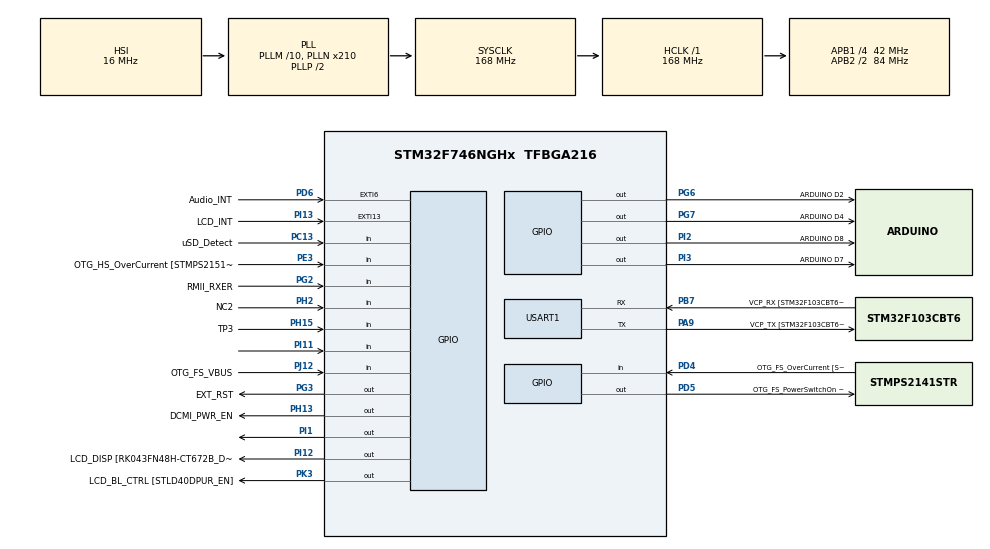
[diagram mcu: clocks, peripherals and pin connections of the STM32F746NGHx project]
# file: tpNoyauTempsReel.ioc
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FREERTOS.Tasks01=defaultTask,0,256,StartDefaultTask,Default,NULL,Dynamic,NULL,NULL
Mcu.Family=STM32F7
Mcu.Name=STM32F746NGHx
Mcu.Package=TFBGA216
NVIC.PriorityGroup=NVIC_PRIORITYGROUP_4
NVIC.TIM3_IRQn=true\:5\:0\:false\:false\:true\:true\:true\:true\:true
NVIC.TIM6_DAC_IRQn=true\:15\:0\:false\:false\:true\:false\:false\:true\:true
NVIC.TimeBase=TIM6_DAC_IRQn
NVIC.TimeBaseIP=TIM6
PA0/WKUP.GPIO_Label=ARDUINO A0
PA0/WKUP.GPIO_Mode=GPIO_MODE_ANALOG
PA0/WKUP.GPIO_PuPd=GPIO_NOPULL
PA0/WKUP.Signal=ADCx_IN0
PA1.GPIO_Label=RMII_REF_CLK [LAN8742A-CZ-TR_REFCLK0]
PA1.Signal=ETH_REF_CLK
PA10.GPIO_Label=OTG_FS_ID
PA10.Signal=USB_OTG_FS_ID
PA11.GPIO_Label=OTG_FS_N
PA11.Signal=USB_OTG_FS_DM
PA12.GPIO_Label=OTG_FS_P
PA12.Signal=USB_OTG_FS_DP
PA13.GPIO_Label=SWDIO
PA13.Signal=SYS_JTMS-SWDIO
PA14.GPIO_Label=SWCLK
PA14.Signal=SYS_JTCK-SWCLK
PA15.GPIO_Label=ARDUINO PWM/D9
PA15.GPIO_ModeDefaultPP=GPIO_MODE_AF_PP
PA15.GPIO_PuPd=GPIO_NOPULL
PA15.GPIO_Speed=GPIO_SPEED_FREQ_LOW
PA15.Signal=S_TIM2_CH1_ETR
PA2.GPIO_Label=RMII_MDIO [LAN8742A-CZ-TR_MDIO]
PA2.Signal=ETH_MDIO
PA3.GPIO_Label=ULPI_D0 [USB3320C-EZK_D0]
PA3.Signal=USB_OTG_HS_ULPI_D0
PA4.GPIO_Label=DCMI_HSYNC
PA4.Signal=DCMI_HSYNC
PA5.GPIO_Label=ULPI_CLK [USB3320C-EZK_CLKOUT]
PA5.Signal=USB_OTG_HS_ULPI_CK
PA6.Signal=DCMI_PIXCLK
PA7.GPIO_Label=RMII_CRS_DV [LAN8742A-CZ-TR_CRS_DV]
PA7.Signal=ETH_CRS_DV
PA8.GPIO_Label=ARDUINO PWM/D10
PA8.GPIO_ModeDefaultPP=GPIO_MODE_AF_PP
PA8.GPIO_PuPd=GPIO_NOPULL
PA8.GPIO_Speed=GPIO_SPEED_FREQ_LOW
PA8.Signal=S_TIM1_CH1
PA9.GPIO_Label=VCP_TX [STM32F103CBT6_PA3]
PA9.GPIO_Mode=GPIO_MODE_AF_PP
PA9.GPIO_PuPd=GPIO_NOPULL
PA9.GPIO_Speed=GPIO_SPEED_FREQ_LOW
PA9.Mode=Asynchronous
PA9.Signal=USART1_TX
PB0.GPIO_Label=ULPI_D1 [USB3320C-EZK_D1]
PB0.Signal=USB_OTG_HS_ULPI_D1
PB1.GPIO_Label=ULPI_D2 [USB3320C-EZK_D2]
PB1.Signal=USB_OTG_HS_ULPI_D2
PB10.GPIO_Label=ULPI_D3 [USB3320C-EZK_D3]
PB10.Signal=USB_OTG_HS_ULPI_D3
PB11.GPIO_Label=ULPI_D4 [USB3320C-EZK_D4]
PB11.Signal=USB_OTG_HS_ULPI_D4
PB12.GPIO_Label=ULPI_D5 [USB3320C-EZK_D5]
PB12.Signal=USB_OTG_HS_ULPI_D5
PB13.GPIO_Label=ULPI_D6 [USB3320C-EZK_D6]
PB13.Signal=USB_OTG_HS_ULPI_D6
PB14.GPIO_Label=ARDUINO MISO/D12
PB14.GPIO_Mode=GPIO_MODE_AF_PP
PB14.GPIO_PuPd=GPIO_NOPULL
PB14.GPIO_Speed=GPIO_SPEED_FREQ_LOW
PB14.Signal=SPI2_MISO
PB15.GPIO_Label=ARDUINO MOSI/PWM/D11
PB15.GPIO_Mode=GPIO_MODE_AF_PP
PB15.GPIO_PuPd=GPIO_NOPULL
PB15.GPIO_Speed=GPIO_SPEED_FREQ_LOW
PB15.Signal=SPI2_MOSI
PB2.Signal=QUADSPI_CLK
PB3.GPIO_Label=SWO
PB3.Signal=SYS_JTDO-SWO
PB4.GPIO_Label=ARDUINO PWM/D3
PB4.GPIO_ModeDefaultPP=GPIO_MODE_AF_PP
PB4.GPIO_PuPd=GPIO_NOPULL
PB4.GPIO_Speed=GPIO_SPEED_FREQ_LOW
PB4.Signal=S_TIM3_CH1
PB5.GPIO_Label=ULPI_D7 [USB3320C-EZK_D7]
PB5.Signal=USB_OTG_HS_ULPI_D7
PB6.GPIO_Label=QSPI_NCS [N25Q128A13EF840E_S]
PB6.Signal=QUADSPI_BK1_NCS
PB7.GPIO_Label=VCP_RX [STM32F103CBT6_PA2]
PB7.GPIO_Mode=GPIO_MODE_AF_PP
PB7.GPIO_PuPd=GPIO_NOPULL
PB7.GPIO_Speed=GPIO_SPEED_FREQ_LOW
PB7.Mode=Asynchronous
PB7.Signal=USART1_RX
PB8.GPIO_Label=ARDUINO SCL/D15
PB8.GPIO_Mode=GPIO_MODE_AF_OD
PB8.GPIO_PuPd=GPIO_NOPULL
PB8.GPIO_Speed=GPIO_SPEED_FREQ_LOW
PB8.Signal=I2C1_SCL
PB9.GPIO_Label=ARDUINO SDA/D14
PB9.GPIO_Mode=GPIO_MODE_AF_OD
PB9.GPIO_PuPd=GPIO_NOPULL
PB9.GPIO_Speed=GPIO_SPEED_FREQ_LOW
PB9.Signal=I2C1_SDA
PC0.GPIO_Label=ULPI_STP [USB3320C-EZK_STP]
PC0.Signal=USB_OTG_HS_ULPI_STP
PC1.GPIO_Label=RMII_MDC [LAN8742A-CZ-TR_MDC]
PC1.Signal=ETH_MDC
PC10.GPIO_Label=SDMMC_D2
PC10.Signal=SDMMC1_D2
PC11.GPIO_Label=SDMMC_D3
PC11.Signal=SDMMC1_D3
PC12.GPIO_Label=SDMMC_CK
PC12.Signal=SDMMC1_CK
PC13.GPIO_Label=uSD_Detect
PC13.Signal=GPIO_Input
PC14/OSC32_IN.GPIO_Label=RCC_OSC32_IN
PC14/OSC32_IN.Signal=RCC_OSC32_IN
PC15/OSC32_OUT.GPIO_Label=RCC_OSC32_OUT
PC15/OSC32_OUT.Signal=RCC_OSC32_OUT
PC2.GPIO_Label=ULPI_DIR [USB3320C-EZK_DIR]
PC2.Signal=USB_OTG_HS_ULPI_DIR
PC3.GPIO_Label=FMC_SDCKE0 [MT48LC4M32B2B5-6A_CKE]
PC3.Signal=FMC_SDCKE0
PC4.GPIO_Label=RMII_RXD0 [LAN8742A-CZ-TR_RXD0]
PC4.Signal=ETH_RXD0
PC5.GPIO_Label=RMII_RXD1 [LAN8742A-CZ-TR_RXD1]
PC5.Signal=ETH_RXD1
PC6.GPIO_Label=ARDUINO TX/D1
PC6.Signal=USART6_TX
PC7.GPIO_Label=ARDUINO RX/D0
PC7.Signal=USART6_RX
PC8.Signal=SDMMC1_D0
PC9.Signal=SDMMC1_D1
PD0.GPIO_Label=FMC_D2 [MT48LC4M32B2B5-6A_DQ2]
PD0.Signal=FMC_D2_DA2
PD1.GPIO_Label=FMC_D3 [MT48LC4M32B2B5-6A_DQ3]
PD1.Signal=FMC_D3_DA3
PD10.GPIO_Label=FMC_D15 [MT48LC4M32B2B5-6A_DQ15]
PD10.Signal=FMC_D15_DA15
PD11.GPIO_Label=QSPI_D0 [N25Q128A13EF840E_DQ0]
PD11.Signal=QUADSPI_BK1_IO0
PD12.GPIO_Label=QSPI_D1 [N25Q128A13EF840E_DQ1]
PD12.Signal=QUADSPI_BK1_IO1
PD13.GPIO_Label=QSPI_D3 [N25Q128A13EF840E_DQ3]
PD13.Signal=QUADSPI_BK1_IO3
PD14.GPIO_Label=FMC_D0 [MT48LC4M32B2B5-6A_DQ0]
PD14.Signal=FMC_D0_DA0
PD15.GPIO_Label=FMC_D1 [MT48LC4M32B2B5-6A_DQ1]
PD15.Signal=FMC_D1_DA1
PD2.GPIO_Label=SDMMC_D0
PD2.Signal=SDMMC1_CMD
PD3.GPIO_Label=DCMI_D5
PD3.Signal=DCMI_D5
PD4.GPIO_Label=OTG_FS_OverCurrent [STMPS2141STR_Fault]
PD4.Signal=GPIO_Input
PD5.GPIO_Label=OTG_FS_PowerSwitchOn [STMPS2141STR_EN]
PD5.PinState=GPIO_PIN_SET
PD5.Signal=GPIO_Output
PD6.GPIO_Label=Audio_INT
PD6.GPIO_ModeDefaultEXTI=GPIO_MODE_EVT_RISING
PD6.Signal=GPXTI6
PD7.GPIO_Label=SPDIF_RX0 [74LVC1G04SE_4]
PD7.Signal=SPDIFRX_IN0
PD8.GPIO_Label=FMC_D13 [MT48LC4M32B2B5-6A_DQ13]
PD8.Signal=FMC_D13_DA13
PD9.GPIO_Label=FMC_D14 [MT48LC4M32B2B5-6A_DQ14]
PD9.Signal=FMC_D14_DA14
PE0.GPIO_Label=FMC_NBL0 [MT48LC4M32B2B5-6A_DQM0]
PE0.Signal=FMC_NBL0
PE1.GPIO_Label=FMC_NBL1 [MT48LC4M32B2B5-6A_DQM1]
PE1.Signal=FMC_NBL1
PE10.GPIO_Label=FMC_D7 [MT48LC4M32B2B5-6A_DQ7]
PE10.Signal=FMC_D7_DA7
PE11.GPIO_Label=FMC_D8 [MT48LC4M32B2B5-6A_DQ8]
PE11.Signal=FMC_D8_DA8
PE12.GPIO_Label=FMC_D9 [MT48LC4M32B2B5-6A_DQ9]
PE12.Signal=FMC_D9_DA9
PE13.GPIO_Label=FMC_D10 [MT48LC4M32B2B5-6A_DQ10]
PE13.Signal=FMC_D10_DA10
PE14.GPIO_Label=FMC_D11 [MT48LC4M32B2B5-6A_DQ11]
PE14.Signal=FMC_D11_DA11
PE15.GPIO_Label=FMC_D12 [MT48LC4M32B2B5-6A_DQ12]
PE15.Signal=FMC_D12_DA12
PE2.GPIO_Label=QSPI_D2 [N25Q128A13EF840E_DQ2]
PE2.Signal=QUADSPI_BK1_IO2
PE3.GPIO_Label=OTG_HS_OverCurrent [STMPS2151STR_FAULT]
PE3.Signal=GPIO_Input
PE4.GPIO_Label=LCD_B0 [RK043FN48H-CT672B_B0]
PE4.Signal=LTDC_B0
PE5.GPIO_Label=DCMI_D6
PE5.Signal=DCMI_D6
PE6.GPIO_Label=DCMI_D7
PE6.Signal=DCMI_D7
PE7.GPIO_Label=FMC_D4 [MT48LC4M32B2B5-6A_DQ4]
PE7.Signal=FMC_D4_DA4
PE8.GPIO_Label=FMC_D5 [MT48LC4M32B2B5-6A_DQ5]
PE8.Signal=FMC_D5_DA5
PE9.GPIO_Label=FMC_D6 [MT48LC4M32B2B5-6A_DQ6]
PE9.Signal=FMC_D6_DA6
PF0.GPIO_Label=FMC_A0 [MT48LC4M32B2B5-6A_A0]
PF0.Signal=FMC_A0
PF1.GPIO_Label=FMC_A1 [MT48LC4M32B2B5-6A_A1]
PF1.Signal=FMC_A1
PF10.GPIO_Label=ARDUINO A1
PF10.GPIO_Mode=GPIO_MODE_ANALOG
PF10.GPIO_PuPd=GPIO_NOPULL
PF10.Signal=ADC3_IN8
PF11.GPIO_Label=FMC_SDNRAS [MT48LC4M32B2B5-6A_RAS]
PF11.Signal=FMC_SDNRAS
PF12.GPIO_Label=FMC_A6 [MT48LC4M32B2B5-6A_A6]
PF12.Signal=FMC_A6
PF13.GPIO_Label=FMC_A7 [MT48LC4M32B2B5-6A_A7]
PF13.Signal=FMC_A7
PF14.GPIO_Label=FMC_A8 [MT48LC4M32B2B5-6A_A8]
PF14.Signal=FMC_A8
PF15.GPIO_Label=FMC_A9 [MT48LC4M32B2B5-6A_A9]
PF15.Signal=FMC_A9
PF2.GPIO_Label=FMC_A2 [MT48LC4M32B2B5-6A_A2]
PF2.Signal=FMC_A2
PF3.GPIO_Label=FMC_A3 [MT48LC4M32B2B5-6A_A3]
PF3.Signal=FMC_A3
PF4.GPIO_Label=FMC_A4 [MT48LC4M32B2B5-6A_A4]
PF4.Signal=FMC_A4
PF5.GPIO_Label=FMC_A5 [MT48LC4M32B2B5-6A_A5]
PF5.Signal=FMC_A5
PF6.GPIO_Label=ARDUINO A5
PF6.GPIO_Mode=GPIO_MODE_ANALOG
PF6.GPIO_PuPd=GPIO_NOPULL
PF6.Signal=ADC3_IN4
PF7.GPIO_Label=ARDUINO A4
PF7.GPIO_Mode=GPIO_MODE_ANALOG
PF7.GPIO_PuPd=GPIO_NOPULL
PF7.Signal=ADC3_IN5
PF8.GPIO_Label=ARDUINO A3
PF8.GPIO_Mode=GPIO_MODE_ANALOG
PF8.GPIO_PuPd=GPIO_NOPULL
PF8.Signal=ADC3_IN6
PF9.GPIO_Label=ARDUINO A2
PF9.GPIO_Mode=GPIO_MODE_ANALOG
PF9.GPIO_PuPd=GPIO_NOPULL
PF9.Signal=ADC3_IN7
PG0.GPIO_Label=FMC_A10 [MT48LC4M32B2B5-6A_A10]
PG0.Signal=FMC_A10
PG1.GPIO_Label=FMC_A11 [MT48LC4M32B2B5-6A_A11]
PG1.Signal=FMC_A11
PG10.GPIO_Label=SAI2_SDB [WM8994ECS/R_ADCDAT1]
PG10.Signal=SAI2_SD_B
PG11.GPIO_Label=RMII_TX_EN [LAN8742A-CZ-TR_TXEN]
PG11.Signal=ETH_TX_EN
PG12.GPIO_Label=LCD_B4 [RK043FN48H-CT672B_B4]
PG12.Signal=LTDC_B4
PG13.GPIO_Label=RMII_TXD0 [LAN8742A-CZ-TR_TXD0]
PG13.Signal=ETH_TXD0
PG14.GPIO_Label=RMII_TXD1 [LAN8742A-CZ-TR_TXD1]
PG14.Signal=ETH_TXD1
PG15.GPIO_Label=FMC_SDNCAS [MT48LC4M32B2B5-6A_CAS]
PG15.Signal=FMC_SDNCAS
PG2.GPIO_Label=RMII_RXER
PG2.Signal=GPIO_Input
PG3.GPIO_Label=EXT_RST
PG3.Signal=GPIO_Output
PG4.GPIO_Label=FMC_BA0 [MT48LC4M32B2B5-6A_BA0]
PG4.Signal=FMC_A14_BA0
PG5.GPIO_Label=FMC_BA1 [MT48LC4M32B2B5-6A_BA1]
PG5.Signal=FMC_A15_BA1
PG6.GPIO_Label=ARDUINO D2
PG6.Signal=GPIO_Output
PG7.GPIO_Label=ARDUINO D4
PG7.Signal=GPIO_Output
PG8.GPIO_Label=FMC_SDCLK [MT48LC4M32B2B5-6A_CLK]
PG8.Signal=FMC_SDCLK
PG9.GPIO_Label=DCMI_VSYNC
PG9.Signal=DCMI_VSYNC
PH0/OSC_IN.GPIO_Label=OSC_25M [NZ2520SB-25.00M_OUT]
PH0/OSC_IN.Signal=RCC_OSC_IN
PH1/OSC_OUT.Signal=RCC_OSC_OUT
PH10.GPIO_Label=DCMI_D1
PH10.Signal=DCMI_D1
PH11.GPIO_Label=DCMI_D2
PH11.Signal=DCMI_D2
PH12.GPIO_Label=DCMI_D3
PH12.Signal=DCMI_D3
PH13.GPIO_Label=DCMI_PWR_EN
PH13.Signal=GPIO_Output
PH14.GPIO_Label=DCMI_D4
PH14.Signal=DCMI_D4
PH15.GPIO_Label=TP3
PH15.Signal=GPIO_Input
PH2.GPIO_Label=NC2
PH2.Signal=GPIO_Input
PH3.GPIO_Label=FMC_SDNE0 [MT48LC4M32B2B5-6A_CS]
PH3.Signal=FMC_SDNE0
PH4.GPIO_Label=ULPI_NXT [USB3320C-EZK_NXT]
PH4.Signal=USB_OTG_HS_ULPI_NXT
PH5.GPIO_Label=FMC_SDNME [MT48LC4M32B2B5-6A_WE]
PH5.Signal=FMC_SDNWE
PH6.GPIO_Label=ARDUINO PWM/D6
PH6.Signal=S_TIM12_CH1
PH7.GPIO_Label=LCD_SCL [RK043FN48H-CT672B_SCL]
PH7.Signal=I2C3_SCL
PH8.GPIO_Label=LCD_SDA [RK043FN48H-CT672B_SDA]
PH8.Signal=I2C3_SDA
PH9.GPIO_Label=DCMI_D0
PH9.Signal=DCMI_D0
PI0.GPIO_Label=ARDUINO PWM/CS/D5
PI0.GPIO_ModeDefaultPP=GPIO_MODE_AF_PP
PI0.GPIO_PuPd=GPIO_NOPULL
PI0.GPIO_Speed=GPIO_SPEED_FREQ_LOW
PI0.Signal=S_TIM5_CH4
PI1.Signal=GPIO_Output
PI10.GPIO_Label=LCD_HSYNC [RK043FN48H-CT672B_HSYNC]
PI10.Signal=LTDC_HSYNC
PI11.Signal=GPIO_Input
PI12.GPIO_Label=LCD_DISP [RK043FN48H-CT672B_DISP] 
PI12.Signal=GPIO_Output
PI13.GPIO_Label=LCD_INT
PI13.GPIO_ModeDefaultEXTI=GPIO_MODE_EVT_RISING
PI13.Signal=GPXTI13
PI14.GPIO_Label=LCD_CLK [RK043FN48H-CT672B_CLK]
PI14.Signal=LTDC_CLK
PI15.GPIO_Label=LCD_R0 [RK043FN48H-CT672B_R0]
PI15.Signal=LTDC_R0
PI2.GPIO_Label=ARDUINO D8
PI2.Signal=GPIO_Output
PI3.GPIO_Label=ARDUINO D7
PI3.Signal=GPIO_Output
PI4.GPIO_Label=SAI2_MCLKA [WM8994ECS/R_MCLK1]
PI4.Signal=SAI2_MCLK_A
PI5.GPIO_Label=SAI2_SCKA [WM8994ECS/R_BCLK1]
PI5.Signal=SAI2_SCK_A
PI6.GPIO_Label=SAI2_SDA [WM8994ECS/R_DACDAT1]
PI6.Signal=SAI2_SD_A
PI7.GPIO_Label=SAI2_FSA [WM8994ECS/R_LRCLK1]
PI7.Signal=SAI2_FS_A
PI8.GPIO_Label=NC1 [TP2]
PI8.Signal=RTC_TS
PI9.GPIO_Label=LCD_VSYNC [RK043FN48H-CT672B_VSYNC]
PI9.Signal=LTDC_VSYNC
PJ0.GPIO_Label=LCD_R1 [RK043FN48H-CT672B_R1]
PJ0.Signal=LTDC_R1
PJ1.GPIO_Label=LCD_R2 [RK043FN48H-CT672B_R2]
PJ1.Signal=LTDC_R2
PJ10.GPIO_Label=LCD_G3 [RK043FN48H-CT672B_G3]
PJ10.Signal=LTDC_G3
PJ11.GPIO_Label=LCD_G4 [RK043FN48H-CT672B_G4]
PJ11.Signal=LTDC_G4
PJ12.GPIO_Label=OTG_FS_VBUS
PJ12.Signal=GPIO_Input
PJ13.GPIO_Label=LCD_B1 [RK043FN48H-CT672B_B1]
PJ13.Signal=LTDC_B1
PJ14.GPIO_Label=LCD_B2 [RK043FN48H-CT672B_B2]
PJ14.Signal=LTDC_B2
PJ15.GPIO_Label=LCD_B3 [RK043FN48H-CT672B_B3]
PJ15.Signal=LTDC_B3
PJ2.GPIO_Label=LCD_R3 [RK043FN48H-CT672B_R3]
PJ2.Signal=LTDC_R3
PJ3.GPIO_Label=LCD_R4 [RK043FN48H-CT672B_R4]
PJ3.Signal=LTDC_R4
PJ4.GPIO_Label=LCD_R5 [RK043FN48H-CT672B_R5]
PJ4.Signal=LTDC_R5
PJ5.GPIO_Label=LCD_R6 [RK043FN48H-CT672B_R6]
PJ5.Signal=LTDC_R6
PJ6.GPIO_Label=LCD_R7 [RK043FN48H-CT672B_R7]
PJ6.Signal=LTDC_R7
PJ7.GPIO_Label=LCD_G0 [RK043FN48H-CT672B_G0]
PJ7.Signal=LTDC_G0
PJ8.GPIO_Label=LCD_G1 [RK043FN48H-CT672B_G1]
PJ8.Signal=LTDC_G1
PJ9.GPIO_Label=LCD_G2 [RK043FN48H-CT672B_G2]
PJ9.Signal=LTDC_G2
PK0.GPIO_Label=LCD_G5 [RK043FN48H-CT672B_G5]
PK0.Signal=LTDC_G5
PK1.GPIO_Label=LCD_G6 [RK043FN48H-CT672B_G6]
PK1.Signal=LTDC_G6
PK2.GPIO_Label=LCD_G7 [RK043FN48H-CT672B_G7]
PK2.Signal=LTDC_G7
PK3.GPIO_Label=LCD_BL_CTRL [STLD40DPUR_EN]
PK3.Signal=GPIO_Output
PK4.GPIO_Label=LCD_B5 [RK043FN48H-CT672B_B5]
PK4.Signal=LTDC_B5
PK5.GPIO_Label=LCD_B6 [RK043FN48H-CT672B_B6]
PK5.Signal=LTDC_B6
PK6.GPIO_Label=LCD_B7 [RK043FN48H-CT672B_B7]
PK6.Signal=LTDC_B7
PK7.GPIO_Label=LCD_DE [RK043FN48H-CT672B_DE]
PK7.Signal=LTDC_DE
ProjectManager.HeapSize=0x200
ProjectManager.StackSize=0x400
ProjectManager.TargetToolchain=CMake
RCC.AHBFreq_Value=168000000
RCC.APB1CLKDivider=RCC_HCLK_DIV4
RCC.APB1Freq_Value=42000000
RCC.APB1TimFreq_Value=84000000
RCC.APB2CLKDivider=RCC_HCLK_DIV2
RCC.APB2Freq_Value=84000000
RCC.APB2TimFreq_Value=168000000
RCC.CortexFreq_Value=168000000
RCC.HCLKFreq_Value=168000000
RCC.HSE_VALUE=25000000
RCC.HSI_VALUE=16000000
RCC.LSE_VALUE=32768
RCC.PLLM=10
RCC.PLLN=210
RCC.PLLSourceVirtual=RCC_PLLSOURCE_HSI
RCC.SYSCLKFreq_VALUE=168000000
RCC.SYSCLKSource=RCC_SYSCLKSOURCE_PLLCLK
RCC.USBFreq_Value=168000000
RCC.VCOOutputFreq_Value=336000000
SH.ADCx_IN0.0=ADC3_IN0
SH.FMC_A0.0=FMC_A0
SH.FMC_A1.0=FMC_A1
SH.FMC_A10.0=FMC_A10
SH.FMC_A11.0=FMC_A11
SH.FMC_A14_BA0.0=FMC_BA0
SH.FMC_A15_BA1.0=FMC_BA1
SH.FMC_A2.0=FMC_A2
SH.FMC_A3.0=FMC_A3
SH.FMC_A4.0=FMC_A4
SH.FMC_A5.0=FMC_A5
SH.FMC_A6.0=FMC_A6
SH.FMC_A7.0=FMC_A7
SH.FMC_A8.0=FMC_A8
SH.FMC_A9.0=FMC_A9
SH.FMC_D0_DA0.0=FMC_D0
SH.FMC_D10_DA10.0=FMC_D10
SH.FMC_D11_DA11.0=FMC_D11
SH.FMC_D12_DA12.0=FMC_D12
SH.FMC_D13_DA13.0=FMC_D13
SH.FMC_D14_DA14.0=FMC_D14
SH.FMC_D15_DA15.0=FMC_D15
SH.FMC_D1_DA1.0=FMC_D1
SH.FMC_D2_DA2.0=FMC_D2
SH.FMC_D3_DA3.0=FMC_D3
SH.FMC_D4_DA4.0=FMC_D4
SH.FMC_D5_DA5.0=FMC_D5
SH.FMC_D6_DA6.0=FMC_D6
SH.FMC_D7_DA7.0=FMC_D7
SH.FMC_D8_DA8.0=FMC_D8
SH.FMC_D9_DA9.0=FMC_D9
SH.FMC_NBL0.0=FMC_NBL0
SH.FMC_NBL1.0=FMC_NBL1
SH.FMC_SDCLK.0=FMC_SDCLK
SH.FMC_SDNCAS.0=FMC_SDNCAS
SH.FMC_SDNRAS.0=FMC_SDNRAS
SH.FMC_SDNWE.0=FMC_SDNWE
SH.S_TIM12_CH1.0=TIM12_CH1
SH.S_TIM1_CH1.0=TIM1_CH1
SH.S_TIM2_CH1_ETR.0=TIM2_CH1
SH.S_TIM3_CH1.0=TIM3_CH1
SH.S_TIM5_CH4.0=TIM5_CH4
TIM3.Period=999
USART1.VirtualMode-Asynchronous=VM_ASYNC
VP_FREERTOS_VS_CMSIS_V1.Mode=CMSIS_V1
VP_SYS_VS_tim6.Mode=TIM6
VP_TIM3_VS_ClockSourceINT.Mode=Internal
board=STM32F746G-DISCO

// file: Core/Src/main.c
/* USER CODE BEGIN Header */
/**
 ******************************************************************************
 * @file           : main.c
 * @brief          : Main program body
 ******************************************************************************
 * @attention
 *
 * Copyright (c) 2026 STMicroelectronics.
 * All rights reserved.
 *
 * This software is licensed under terms that can be found in the LICENSE file
 * in the root directory of this software component.
 * If no LICENSE file comes with this software, it is provided AS-IS.
 *
 ******************************************************************************
 */
/* USER CODE END Header */
#include "main.h"
#include "cmsis_os.h"
#include "tim.h"
#include "usart.h"
#include "gpio.h"

/* USER CODE BEGIN Includes */
#include <stdio.h>
/* USER CODE END Includes */

/* USER CODE BEGIN PM */
#define STACK_SIZE 256
#define TASK1_PRIORITY 1
#define TASK2_PRIORITY 2
#define TASK1_DELAY 1
#define TASK2_DELAY 2
/* USER CODE END PM */

/* USER CODE BEGIN PV */
//SemaphoreHandle_t binSem;
TaskHandle_t taskTakeHandle = NULL;
QueueHandle_t timerQueue = NULL;
SemaphoreHandle_t printfMutex = NULL;

/* USER CODE END PV */

void SystemClock_Config(void);
void MX_FREERTOS_Init(void);
void task_bug(void *pvParameters);

/* USER CODE BEGIN 0 */
int __io_putchar(int ch) {
	HAL_UART_Transmit(&huart1, (uint8_t *)&ch, 1, HAL_MAX_DELAY);
	return ch;
}

void taskLED(void *unused)
{
	for(;;)
	{
		HAL_GPIO_TogglePin(GPIOI, GPIO_PIN_1);
//		printf("LED toggle\r\n");
		vTaskDelay(pdMS_TO_TICKS(100));
	}
}

void taskGive(void *unused)
{
	uint32_t tickValue;

	for(;;)
	{
		tickValue = xTaskGetTickCount();

		if (xQueueSend(timerQueue, &tickValue, portMAX_DELAY) == pdPASS)
		{
			printf("taskGive : envoi tick = %lu\r\n", tickValue);
		}

		vTaskDelay(pdMS_TO_TICKS(100));
	}
}

void taskTake(void *unused)
{
	uint32_t receivedValue;

	for(;;)
	{
		if (xQueueReceive(timerQueue, &receivedValue, portMAX_DELAY) == pdPASS)
		{
			printf("taskTake : recu tick = %lu\r\n", receivedValue);
		}
	}
}

void task_bug(void *pvParameters)
{
    int delay = (int) pvParameters;

    for(;;)
    {
        if (xSemaphoreTake(printfMutex, portMAX_DELAY) == pdTRUE)
        {
            printf("Je suis %s et je m'endors pour %d ticks\r\n", pcTaskGetName(NULL), delay);
            xSemaphoreGive(printfMutex);
        }

        vTaskDelay(delay);
    }
}

/* USER CODE END 0 */

int main(void)
{

  /* MCU Configuration--------------------------------------------------------*/

  /* Reset of all peripherals, Initializes the Flash interface and the Systick. */
  HAL_Init();

  /* Configure the system clock */
  SystemClock_Config();

  /* Initialize all configured peripherals */
  MX_GPIO_Init();
  MX_USART1_UART_Init();
  MX_TIM3_Init();
  /* USER CODE BEGIN 2 */
	//tasks (Créer toutes les tâches ici)

	printf("\r\n==== TP RTOS ====\r\n");
//	HAL_Delay(200);

	//binSem = xSemaphoreCreateBinary(); TaskHandle_t taskTakeHandle = NULL;
	//if (binSem == NULL)
	//{
	//	printf("Erreur creation semaphore\r\n");
	//	Error_Handler();
	//}

	printfMutex = xSemaphoreCreateMutex();
	if (printfMutex == NULL)
	{
	    printf("Erreur creation mutex\r\n");
	    Error_Handler();
	}

	/*	timerQueue = xQueueCreate(5, sizeof(uint32_t));
	if (timerQueue == NULL)
	{
	    printf("Erreur creation queue\r\n");
	    Error_Handler();
	}*/
	BaseType_t ret;

	ret = xTaskCreate(task_bug, "Tache 1", STACK_SIZE, (void *)TASK1_DELAY, TASK1_PRIORITY, NULL);
	configASSERT(pdPASS == ret);

	ret = xTaskCreate(task_bug, "Tache 2", STACK_SIZE, (void *)TASK2_DELAY, TASK2_PRIORITY, NULL);
	configASSERT(pdPASS == ret);

	vTaskStartScheduler();

//	HAL_Delay(200);

	vTaskStartScheduler();

  /* USER CODE END 2 */

  /* Call init function for freertos objects (in cmsis_os2.c) */
  MX_FREERTOS_Init();

  /* Start scheduler */
  osKernelStart();

  /* We should never get here as control is now taken by the scheduler */

  /* Infinite loop */
	while (1)
	{

	}
}

void SystemClock_Config(void)
{
  RCC_OscInitTypeDef RCC_OscInitStruct = {0};
  RCC_ClkInitTypeDef RCC_ClkInitStruct = {0};

  /** Configure the main internal regulator output voltage
  */
  __HAL_RCC_PWR_CLK_ENABLE();
  __HAL_PWR_VOLTAGESCALING_CONFIG(PWR_REGULATOR_VOLTAGE_SCALE2);

  /** Initializes the RCC Oscillators according to the specified parameters
  * in the RCC_OscInitTypeDef structure.
  */
  RCC_OscInitStruct.OscillatorType = RCC_OSCILLATORTYPE_HSI;
  RCC_OscInitStruct.HSIState = RCC_HSI_ON;
  RCC_OscInitStruct.HSICalibrationValue = RCC_HSICALIBRATION_DEFAULT;
  RCC_OscInitStruct.PLL.PLLState = RCC_PLL_ON;
  RCC_OscInitStruct.PLL.PLLSource = RCC_PLLSOURCE_HSI;
  RCC_OscInitStruct.PLL.PLLM = 10;
  RCC_OscInitStruct.PLL.PLLN = 210;
  RCC_OscInitStruct.PLL.PLLP = RCC_PLLP_DIV2;
  RCC_OscInitStruct.PLL.PLLQ = 2;
  if (HAL_RCC_OscConfig(&RCC_OscInitStruct) != HAL_OK)
  {
    Error_Handler();
  }

  /** Initializes the CPU, AHB and APB buses clocks
  */
  RCC_ClkInitStruct.ClockType = RCC_CLOCKTYPE_HCLK|RCC_CLOCKTYPE_SYSCLK
                              |RCC_CLOCKTYPE_PCLK1|RCC_CLOCKTYPE_PCLK2;
  RCC_ClkInitStruct.SYSCLKSource = RCC_SYSCLKSOURCE_PLLCLK;
  RCC_ClkInitStruct.AHBCLKDivider = RCC_SYSCLK_DIV1;
  RCC_ClkInitStruct.APB1CLKDivider = RCC_HCLK_DIV4;
  RCC_ClkInitStruct.APB2CLKDivider = RCC_HCLK_DIV2;

  if (HAL_RCC_ClockConfig(&RCC_ClkInitStruct, FLASH_LATENCY_5) != HAL_OK)
  {
    Error_Handler();
  }
}

void HAL_TIM_PeriodElapsedCallback(TIM_HandleTypeDef *htim)
{
  if (htim->Instance == TIM6)
  {
    HAL_IncTick();
  }
}

void Error_Handler(void)
{
	__disable_irq();
	while (1)
	{
	}
}

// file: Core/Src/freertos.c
/* USER CODE BEGIN Header */
/**
  ******************************************************************************
  * File Name          : freertos.c
  * Description        : Code for freertos applications
  ******************************************************************************
  * @attention
  *
  * Copyright (c) 2026 STMicroelectronics.
  * All rights reserved.
  *
  * This software is licensed under terms that can be found in the LICENSE file
  * in the root directory of this software component.
  * If no LICENSE file comes with this software, it is provided AS-IS.
  *
  ******************************************************************************
  */
/* USER CODE END Header */

#include "FreeRTOS.h"
#include "task.h"
#include "main.h"
#include "cmsis_os.h"

/* USER CODE BEGIN Includes */
#include <stdio.h>
/* USER CODE END Includes */

osThreadId defaultTaskHandle;

void StartDefaultTask(void const * argument);

void MX_FREERTOS_Init(void); /* (MISRA C 2004 rule 8.1) */

/* GetIdleTaskMemory prototype (linked to static allocation support) */
void vApplicationGetIdleTaskMemory( StaticTask_t **ppxIdleTaskTCBBuffer, StackType_t **ppxIdleTaskStackBuffer, uint32_t *pulIdleTaskStackSize );

/* USER CODE BEGIN GET_IDLE_TASK_MEMORY */
static StaticTask_t xIdleTaskTCBBuffer;
static StackType_t xIdleStack[configMINIMAL_STACK_SIZE];

void vApplicationGetIdleTaskMemory( StaticTask_t **ppxIdleTaskTCBBuffer, StackType_t **ppxIdleTaskStackBuffer, uint32_t *pulIdleTaskStackSize )
{
  *ppxIdleTaskTCBBuffer = &xIdleTaskTCBBuffer;
  *ppxIdleTaskStackBuffer = &xIdleStack[0];
  *pulIdleTaskStackSize = configMINIMAL_STACK_SIZE;
  /* place for user code */
}
/* USER CODE END GET_IDLE_TASK_MEMORY */

void MX_FREERTOS_Init(void) {

  /* Create the thread(s) */
  /* definition and creation of defaultTask */
  osThreadDef(defaultTask, StartDefaultTask, osPriorityNormal, 0, 256);
  defaultTaskHandle = osThreadCreate(osThread(defaultTask), NULL);

}

void StartDefaultTask(void const * argument)
{
  for(;;)
  {
   osDelay(1);
  }
}
